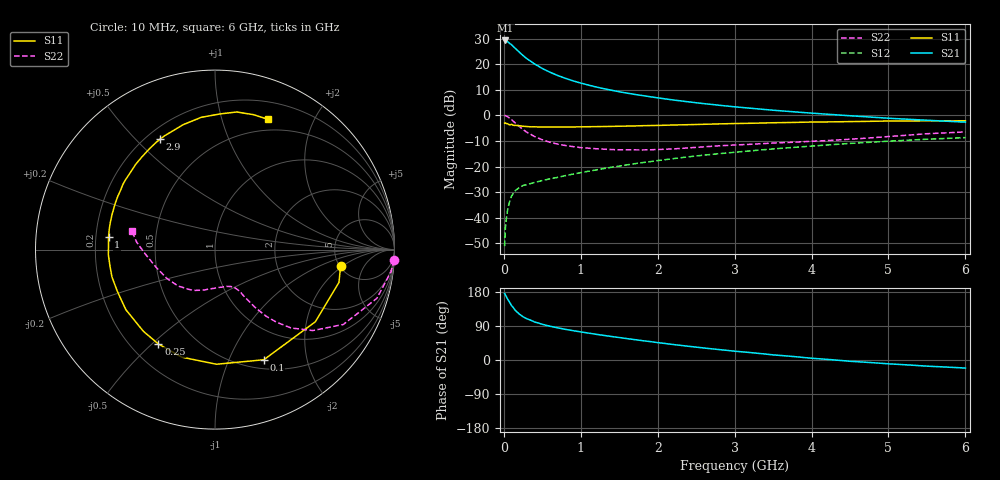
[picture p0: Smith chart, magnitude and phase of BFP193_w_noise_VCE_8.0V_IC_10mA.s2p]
! Infineon Technologies  Discrete & RF Semiconductors
! BFP193
! VCE =  8.0 V,  IC =  10 mA
! Common Emitter S-Parameters:  Jan 2017
# GHz  S  MA  R  50
!  f  S11  S21  S12  S22
! GHz  MAG  ANG  MAG  ANG  MAG  ANG  MAG  ANG
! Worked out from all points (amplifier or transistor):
!   77 points, 10 MHz to 6 GHz, reference 50 ohm
!   highest |S21| = 29.2 dB at 20 MHz (marker M1)
!   |S21| within 3 dB of that: start of sweep to 146 MHz
!   unconditionally stable (mu >= 1): 1.165 GHz to 2.553 GHz
!   at 130 MHz: K = 0.22, MSG = 28.4 dB, |S12| = -30.2 dB
!   at 2.2 GHz: K = 1.03, MAG = 10.4 dB, |S12| = -16.9 dB
!   at 6 GHz: K = 0.86, MSG = 3.0 dB, |S12| = -8.7 dB
!   lowest NFmin = 0.87 dB at 450 MHz
!   S11 on the Smith chart (normalised r, x): 10 MHz: 5.10, -1.85; 100 MHz: 0.61, -1.35; 250 MHz: 0.31, -0.52; 1 GHz: 0.25, +0.06; 2.9 GHz: 0.25, +0.59; 6 GHz: 0.38, +1.42
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0.01  0.7056 -7.4  28.84 175.7  0.0028 83.0  0.998 -3.4
0.02  0.7145 -14.8  28.97 171.8  0.0062 91.0  0.9886 -7.1
0.05  0.6887 -35.7  27.37 160.1  0.0146 73.0  0.9415 -16.8
0.1  0.6713 -66.1  24 143.6  0.0265 63.1  0.8275 -30.3
0.15  0.6387 -89.3  20.25 130.7  0.0342 54.2  0.7061 -39.7
0.2  0.6272 -107.2  17.18 121.4  0.0388 49.6  0.6079 -45.9
0.25  0.6132 -120.9  14.71 114.0  0.0428 45.1  0.5288 -49.8
0.3  0.6054 -131.2  12.75 108.7  0.0446 44.4  0.4675 -52.5
0.4  0.599 -146.0  10.05 100.3  0.049 43.1  0.3854 -55.5
0.5  0.5918 -156.8  8.213 94.1  0.0534 43.5  0.3336 -57.1
0.6  0.594 -165.2  6.95 89.1  0.0579 44.8  0.2983 -58.4
0.7  0.5923 -171.5  6 84.9  0.0616 46.6  0.2743 -59.1
0.8  0.5948 -177.3  5.288 80.9  0.0667 48.3  0.2581 -60.4
1  0.5975 173.1  4.267 74.1  0.0763 49.9  0.2346 -63.4
1.1  0.6003 168.9  3.895 71.0  0.0813 50.6  0.2288 -65.1
1.5  0.6137 154.4  2.89 59.3  0.1021 52.3  0.2126 -75.0
2.1  0.6416 135.8  2.096 43.5  0.137 50.8  0.2182 -94.7
2.9  0.6869 116.4  1.521 25.4  0.1846 45.9  0.2591 -119.8
3.1  0.6964 112.2  1.424 21.5  0.1964 44.2  0.268 -125.3
4.1  0.7427 94.4  1.08 3.2  0.2577 35.1  0.3169 -152.1
5.1  0.7764 79.6  0.863 -11.2  0.319 24.3  0.3958 -177.9
6  0.7837 67.8  0.737 -21.3  0.3684 14.0  0.4755 167.3
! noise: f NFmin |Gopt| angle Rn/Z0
0.45  0.87  0.21  156  0.07
0.9  1  0.35  173  0.06
1.9  1.75  0.57  -146  0.13
2.4  2.13  0.63  -128  0.31
